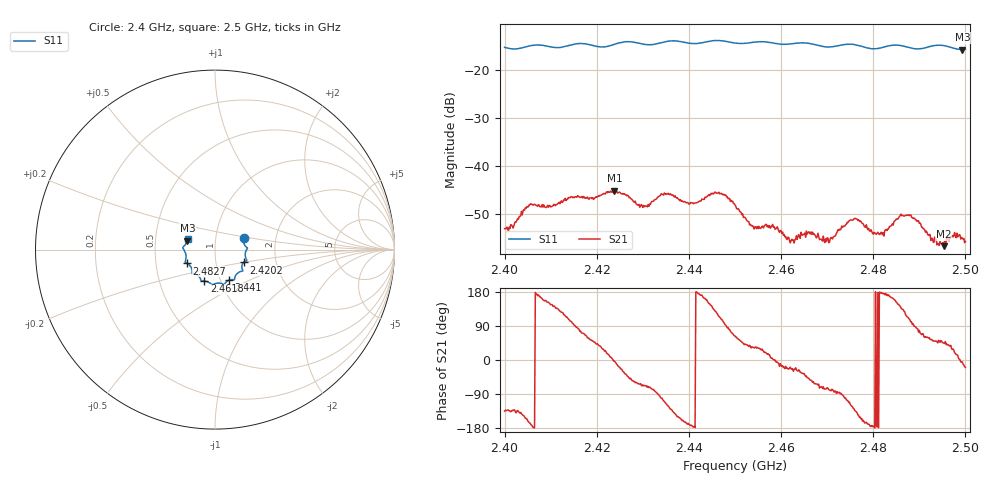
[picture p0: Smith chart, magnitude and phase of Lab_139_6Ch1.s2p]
# Hz S RI R 50
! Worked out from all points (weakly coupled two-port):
!   601 points, 2.4 GHz to 2.5 GHz, reference 50 ohm
!   highest |S21| = -45.12 dB at 2.4238 GHz (marker M1); lowest = -56.6 dB at 2.4953 GHz (marker M2)
!   lowest |S11| = -15.8 dB at 2.4993 GHz (marker M3), VSWR 1.39, Z = 36.5 + j3.8 ohm
!   |S11| at or under -10 dB: start of sweep to end of sweep
!   S12 and S22 are empty: the file has one direction only
!   S11 on the Smith chart (normalised r, x): 2.4 GHz: 1.36, +0.18; 2.4202 GHz: 1.36, -0.20; 2.441 GHz: 1.10, -0.39; 2.4618 GHz: 0.84, -0.30; 2.4827 GHz: 0.72, -0.12; 2.5 GHz: 0.73, +0.09
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2.4e9  0.1588 0.0629  -0.00158 -0.00159  0 0  0 0
2.4055e9  0.1769 0.0121  -0.00386 -0.000927  0 0  0 0
2.416667e9  0.1773 -0.0608  0.00151 0.00456  0 0  0 0
2.420167e9  0.1589 -0.0718  0.00356 0.00329  0 0  0 0
2.423833e9  0.1508 -0.1054  0.00554 -0.000249  0 0  0 0
2.429833e9  0.1383 -0.1235  0.00143 -0.00361  0 0  0 0
2.433333e9  0.1119 -0.1509  -6.79e-05 -0.00479  0 0  0 0
2.441e9  0.0787 -0.1699  -0.00406 -0.000217  0 0  0 0
2.446e9  0.0498 -0.1952  -0.00296 0.00432  0 0  0 0
2.45e9  0.0286 -0.1875  0.00177 0.00354  0 0  0 0
2.453667e9  -0.00529 -0.1922  0.00197 0.00135  0 0  0 0
2.458667e9  -0.0296 -0.1858  0.00222 1.61e-05  0 0  0 0
2.461833e9  -0.0589 -0.1757  0.00156 -0.000629  0 0  0 0
2.466667e9  -0.0789 -0.1683  0.00114 -0.00159  0 0  0 0
2.47e9  -0.095 -0.1441  0.00052 -0.00172  0 0  0 0
2.476e9  -0.1272 -0.1307  -0.00197 -0.0021  0 0  0 0
2.482667e9  -0.156 -0.0773  -0.00218 0.000159  0 0  0 0
2.483333e9  -0.1604 -0.0751  -0.00221 0.000314  0 0  0 0
2.487667e9  -0.1622 -0.0535  -0.00109 0.00294  0 0  0 0
2.495333e9  -0.1779 0.0139  0.00105 0.00104  0 0  0 0
2.499333e9  -0.1542 0.0507  0.00178 -0.000158  0 0  0 0
2.5e9  -0.1523 0.0601  0.00156 -0.000555  0 0  0 0
